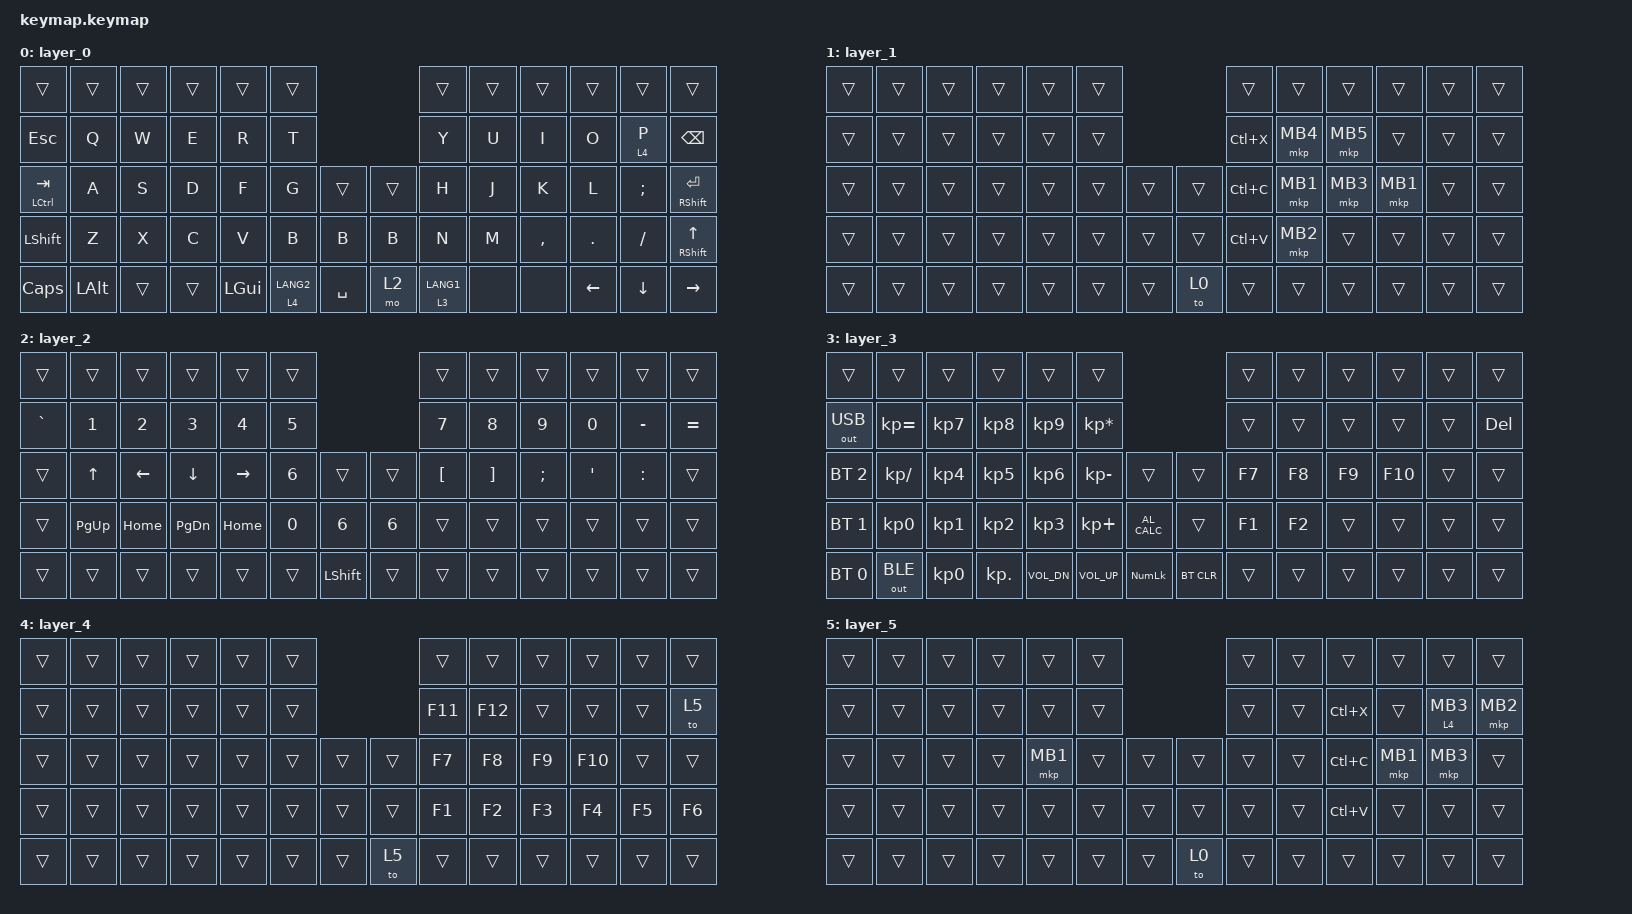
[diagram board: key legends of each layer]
#include <behaviors.dtsi>
#include <input/processors.dtsi>
#include <dt-bindings/zmk/input_transform.h>
#include <dt-bindings/zmk/bt.h>
#include <dt-bindings/zmk/keys.h>
#include <dt-bindings/zmk/outputs.h>
#include <dt-bindings/zmk/pointing.h>

#define BASE    0
#define MOUSE   1
#define FN      2
#define NUM     3
#define SCROLL  4
#define M_MOUSE 5

&pointing_listener {
    input-processors = <
        &zip_xy_transform (INPUT_TRANSFORM_X_INVERT | INPUT_TRANSFORM_Y_INVERT)
        &zip_temp_layer MOUSE 500
    >;

    scroller {
        layers = <SCROLL>;
        input-processors = <
            &zip_xy_transform (INPUT_TRANSFORM_X_INVERT) 
            &zip_xy_to_scroll_mapper
            &zip_scroll_scaler 1 2
        >;
    };
};

/ {
    behaviors {
        middle_layer: middle_layer {
            compatible = "zmk,behavior-hold-tap";
            #binding-cells = <2>;
            flavor = "tap-preferred";
            tapping-term-ms = <200>;
            bindings = <&mo>, <&mkp>;
        };
    };
};

/ {
    combos {
        compatible = "zmk,combos";

        bt_clear {
            bindings = <&bt BT_CLR>;
            key-positions = <28 29>;
            layers = <2>;
        };
    };

    keymap {
        compatible = "zmk,keymap";

        layer_0 {
            bindings = <
&trans         &trans    &trans  &trans  &trans    &trans                          &trans       &trans    &trans     &trans    &trans    &trans
&kp ESC        &kp Q     &kp W   &kp E   &kp R     &kp T                           &kp Y        &kp U     &kp I      &kp O     &lt 4 P   &kp BSPC
&mt LCTRL TAB  &kp A     &kp S   &kp D   &kp F     &kp G        &trans     &trans  &kp H        &kp J     &kp K      &kp L     &kp SEMI  &mt RSHFT ENTER
&kp LSHFT      &kp Z     &kp X   &kp C   &kp V     &kp B        &kp B      &kp B   &kp N        &kp M     &kp COMMA  &kp DOT   &kp FSLH  &mt RSHFT UP
&kp CAPS       &kp LALT  &trans  &trans  &kp LGUI  &lt 4 LANG2  &kp SPACE  &mo 2   &lt 3 LANG1  &none     &none      &kp LEFT  &kp DOWN  &kp RIGHT
            >;
        };

        layer_1 {
            bindings = <
&trans  &trans  &trans  &trans  &trans  &trans                  &trans     &trans    &trans    &trans    &trans  &trans
&trans  &trans  &trans  &trans  &trans  &trans                  &kp LC(X)  &mkp MB4  &mkp MB5  &trans    &trans  &trans
&trans  &trans  &trans  &trans  &trans  &trans  &trans  &trans  &kp LC(C)  &mkp MB1  &mkp MB3  &mkp MB1  &trans  &trans
&trans  &trans  &trans  &trans  &trans  &trans  &trans  &trans  &kp LC(V)  &mkp MB2  &trans    &trans    &trans  &trans
&trans  &trans  &trans  &trans  &trans  &trans  &trans  &to 0   &trans     &trans    &trans    &trans    &trans  &trans
            >;
        };

        layer_2 {
            bindings = <
&trans     &trans     &trans    &trans     &trans     &trans                     &trans    &trans    &trans    &trans   &trans     &trans
&kp GRAVE  &kp N1     &kp N2    &kp N3     &kp N4     &kp N5                     &kp N7    &kp N8    &kp N9    &kp N0   &kp MINUS  &kp EQUAL
&trans     &kp UP     &kp LEFT  &kp DOWN   &kp RIGHT  &kp N6  &trans     &trans  &kp LBKT  &kp RBKT  &kp SEMI  &kp SQT  &kp COLON  &trans
&trans     &kp PG_UP  &kp HOME  &kp PG_DN  &kp HOME   &kp N0  &kp N6     &kp N6  &trans    &trans    &trans    &trans   &trans     &trans
&trans     &trans     &trans    &trans     &trans     &trans  &kp LSHFT  &trans  &trans    &trans    &trans    &trans   &trans     &trans
            >;
        };

        layer_3 {
            bindings = <
&trans        &trans         &trans     &trans      &trans        &trans                                      &trans  &trans  &trans  &trans   &trans  &trans
&out OUT_USB  &kp KP_EQUAL   &kp KP_N7  &kp KP_N8   &kp KP_N9     &kp KP_MULTIPLY                             &trans  &trans  &trans  &trans   &trans  &kp DEL
&bt BT_SEL 2  &kp KP_DIVIDE  &kp KP_N4  &kp KP_N5   &kp KP_N6     &kp KP_MINUS     &trans         &trans      &kp F7  &kp F8  &kp F9  &kp F10  &trans  &trans
&bt BT_SEL 1  &kp KP_N0      &kp KP_N1  &kp KP_N2   &kp KP_N3     &kp KP_PLUS      &kp C_AL_CALC  &trans      &kp F1  &kp F2  &trans  &trans   &trans  &trans
&bt BT_SEL 0  &out OUT_BLE   &kp KP_N0  &kp KP_DOT  &kp C_VOL_DN  &kp C_VOL_UP     &kp KP_NUM     &bt BT_CLR  &trans  &trans  &trans  &trans   &trans  &trans
            >;
        };

        layer_4 {
            bindings = <
&trans  &trans  &trans  &trans  &trans  &trans                  &trans   &trans   &trans  &trans   &trans  &trans
&trans  &trans  &trans  &trans  &trans  &trans                  &kp F11  &kp F12  &trans  &trans   &trans  &to 5
&trans  &trans  &trans  &trans  &trans  &trans  &trans  &trans  &kp F7   &kp F8   &kp F9  &kp F10  &trans  &trans
&trans  &trans  &trans  &trans  &trans  &trans  &trans  &trans  &kp F1   &kp F2   &kp F3  &kp F4   &kp F5  &kp F6
&trans  &trans  &trans  &trans  &trans  &trans  &trans  &to 5   &trans   &trans   &trans  &trans   &trans  &trans
            >;
        };

        layer_5 {
            bindings = <
&trans  &trans  &trans  &trans  &trans    &trans                  &trans   &trans   &trans     &trans    &trans               &trans
&trans  &trans  &trans  &trans  &trans    &trans                  &trans   &trans   &kp LC(X)  &trans    &middle_layer 4 MB3  &mkp MB2
&trans  &trans  &trans  &trans  &mkp MB1  &trans  &trans  &trans  &trans   &trans   &kp LC(C)  &mkp MB1  &mkp MB3             &trans
&trans  &trans  &trans  &trans  &trans    &trans  &trans  &trans  &trans   &trans   &kp LC(V)  &trans    &trans               &trans
&trans  &trans  &trans  &trans  &trans    &trans  &trans  &to 0   &trans   &trans   &trans     &trans    &trans               &trans
            >;
        };
    };
};
